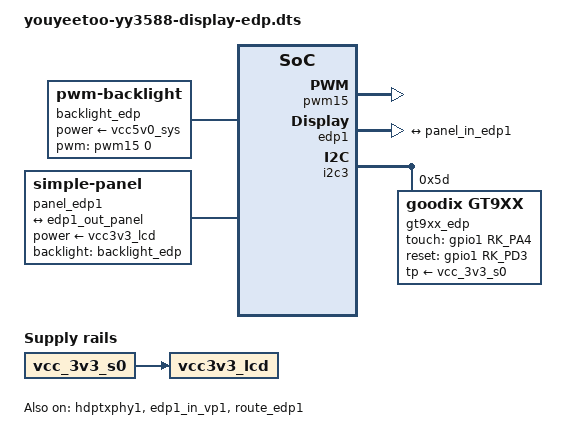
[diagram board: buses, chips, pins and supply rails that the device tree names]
/dts-v1/;
/plugin/;

#include <dt-bindings/gpio/gpio.h>
#include <dt-bindings/pinctrl/rockchip.h>

/*
 * Youyeetoo YY3588 - RK3588
 * 11.6" 1920x1080 LCD on eDP1 (GT928 touch)
 */

/ {
	metadata {
		title = "Enable eDP Display on Youyeetoo YY3588";
		compatible = "youyeetoo,yy3588";
		category = "display";
		description = "Enable 11.6 inch 1920x1080 eDP display with GT928 touchscreen";
	};

	fragment@0 {
		target-path = "/";

		__overlay__ {
			backlight_edp: backlight-edp {
				compatible = "pwm-backlight";
				brightness-levels = <
					0  20  20  21  21  22  22  23
					23  24  24  25  25  26  26  27
					27  28  28  29  29  30  30  31
					31  32  32  33  33  34  34  35
					35  36  36  37  37  38  38  39
					40  41  42  43  44  45  46  47
					48  49  50  51  52  53  54  55
					56  57  58  59  60  61  62  63
					64  65  66  67  68  69  70  71
					72  73  74  75  76  77  78  79
					80  81  82  83  84  85  86  87
					88  89  90  91  92  93  94  95
					96  97  98  99 100 101 102 103
					104 105 106 107 108 109 110 111
					112 113 114 115 116 117 118 119
					120 121 122 123 124 125 126 127
					128 129 130 131 132 133 134 135
					136 137 138 139 140 141 142 143
					144 145 146 147 148 149 150 151
					152 153 154 155 156 157 158 159
					160 161 162 163 164 165 166 167
					168 169 170 171 172 173 174 175
					176 177 178 179 180 181 182 183
					184 185 186 187 188 189 190 191
					192 193 194 195 196 197 198 199
					200 201 202 203 204 205 206 207
					208 209 210 211 212 213 214 215
					216 217 218 219 220 221 222 223
					224 225 226 227 228 229 230 231
					232 233 234 235 236 237 238 239
					240 241 242 243 244 245 246 247
					248 249 250 251 252 253 254 255
				>;
				default-brightness-level = <200>;
				pwms = <&pwm15 0 25000 0>;
				power-supply = <&vcc5v0_sys>;
				status = "okay";
			};

			vcc3v3_lcd: vcc3v3-lcd {
				compatible = "regulator-fixed";
				regulator-name = "vcc3v3_lcd";
				vin-supply = <&vcc_3v3_s0>;
			};

			panel_edp1: panel-edp1 {
				compatible = "simple-panel";
				backlight = <&backlight_edp>;
				power-supply = <&vcc3v3_lcd>;
				/* Panel enable pad GPIO0_C4 is already held high by the
				 * always-on wifi_disable regulator in the board DTS.
				 */
				prepare-delay-ms = <120>;
				enable-delay-ms = <120>;
				unprepare-delay-ms = <120>;
				disable-delay-ms = <120>;
				width-mm = <256>;
				height-mm = <144>;
				status = "okay";

				panel-timing {
					clock-frequency = <141500000>;
					hactive = <1920>;
					vactive = <1080>;
					hfront-porch = <100>;
					hsync-len = <22>;
					hback-porch = <100>;
					vfront-porch = <8>;
					vsync-len = <4>;
					vback-porch = <8>;
					hsync-active = <0>;
					vsync-active = <0>;
					de-active = <0>;
					pixelclk-active = <0>;
				};

				port {
					panel_in_edp1: endpoint {
						remote-endpoint = <&edp1_out_panel>;
					};
				};
			};
		};
	};

	fragment@1 {
		target = <&pwm15>;

		__overlay__ {
			status = "okay";
			pinctrl-names = "active";
			pinctrl-0 = <&pwm15m2_pins>;
		};
	};

	fragment@2 {
		target = <&edp1>;

		__overlay__ {
			status = "okay";
			force-hpd;

			ports {
				#address-cells = <1>;
				#size-cells = <0>;

				port@1 {
					reg = <1>;

					edp1_out_panel: endpoint {
						remote-endpoint = <&panel_in_edp1>;
					};
				};
			};
		};
	};

	fragment@3 {
		target = <&hdptxphy1>;

		__overlay__ {
			status = "okay";
		};
	};

	fragment@4 {
		target = <&edp1_in_vp0>;

		__overlay__ {
			status = "disabled";
		};
	};

	fragment@5 {
		target = <&edp1_in_vp1>;

		__overlay__ {
			status = "okay";
		};
	};

	fragment@6 {
		target = <&edp1_in_vp2>;

		__overlay__ {
			status = "disabled";
		};
	};

	fragment@7 {
		target = <&route_edp1>;

		__overlay__ {
			status = "okay";
			connect = <&vp1_out_edp1>;
		};
	};

	fragment@8 {
		target = <&i2c3>;

		__overlay__ {
			status = "okay";
			pinctrl-names = "default";
			pinctrl-0 = <&i2c3m0_xfer>;
			#address-cells = <1>;
			#size-cells = <0>;

			gt9xx_edp: gt9xx@5d {
				compatible = "goodix,gt9xx";
				reg = <0x5d>;
				touch-gpio = <&gpio1 RK_PA4 GPIO_ACTIVE_HIGH>;
				reset-gpio = <&gpio1 RK_PD3 GPIO_ACTIVE_HIGH>;
				max-x = <1920>;
				max-y = <1080>;
				tp-size = <928>;
				tp-supply = <&vcc_3v3_s0>;
				pinctrl-names = "default";
				pinctrl-0 = <&touch_edp_gpio>;
				status = "okay";
			};
		};
	};

	fragment@9 {
		target = <&pinctrl>;

		__overlay__ {
			lcd {
				touch_edp_gpio: touch-edp-gpio {
					rockchip,pins =
						<1 RK_PD3 RK_FUNC_GPIO &pcfg_pull_none>,
						<1 RK_PA4 RK_FUNC_GPIO &pcfg_pull_none>;
				};
			};
		};
	};
};
